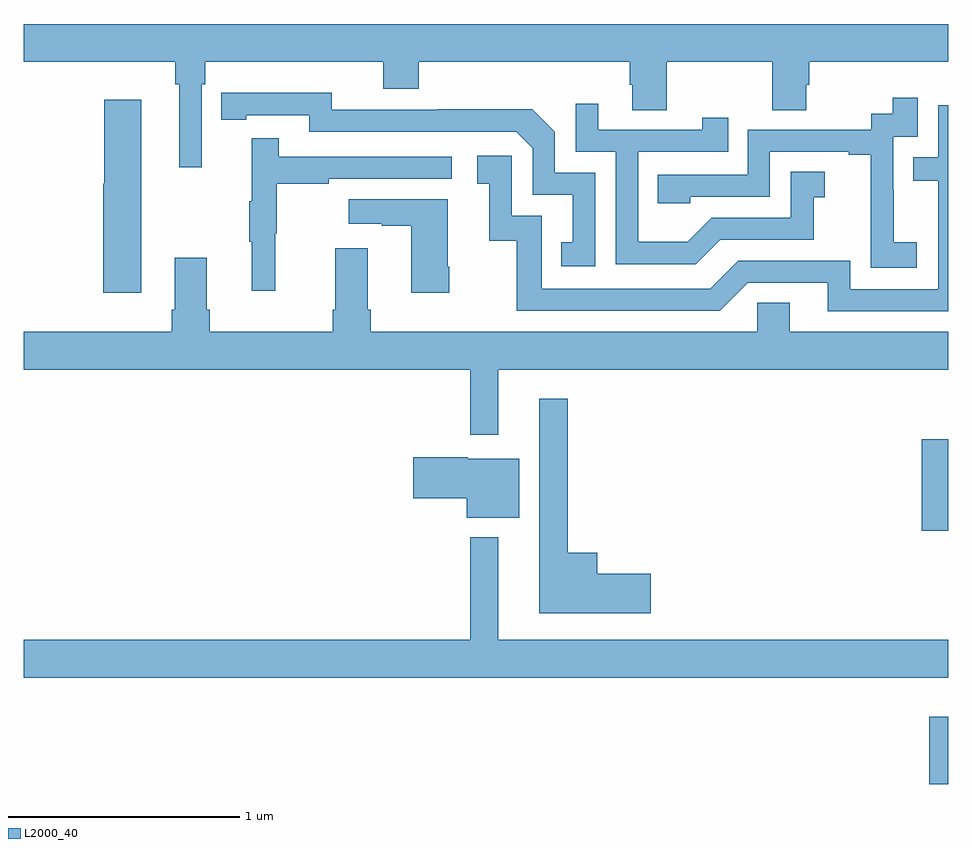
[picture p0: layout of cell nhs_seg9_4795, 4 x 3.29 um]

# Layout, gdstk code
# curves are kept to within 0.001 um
import gdstk
lib = gdstk.Library(unit=1e-6, precision=1e-09)
def R(c, l, rs):  # rectangles x0, y0, x1, y1
    for r in rs: c.add(gdstk.rectangle(r[:2], r[2:], *l))
def P(c, l, *ps):  # polygons
    for p in ps: c.add(gdstk.Polygon(p, *l))
L2000_40 = (2000, 40)

nhs_seg9_4795 = lib.new_cell('nhs_seg9_4795')
R(nhs_seg9_4795, L2000_40, [(390.917,1238.585,391,1238.875), (390.884,1239.681,391,1240.075)])
P(nhs_seg9_4795, L2000_40, [(387.771,1241.612),(387.785,1241.612),(387.785,1241.708),(388.556,1241.708),(388.556,1241.591),(388.709,1241.591),(388.709,1241.708),(389.621,1241.708),(389.621,1241.61),(389.633,1241.61),(389.633,1241.5),(389.781,1241.5),(389.781,1241.708),(390.238,1241.708),(390.238,1241.5),(390.385,1241.5),(390.385,1241.61),(390.398,1241.61),(390.398,1241.708),(391,1241.708),(391,1241.872),(387,1241.872),(387,1241.708),(387.655,1241.708),(387.655,1241.612),(387.674,1241.612),(387.674,1241.253),(387.771,1241.253)],
  [(389.472,1241.229),(389.298,1241.229),(389.298,1241.406),(389.2,1241.504),(388.792,1241.504),(388.792,1241.502),(388.332,1241.502),(388.332,1241.575),(387.856,1241.574),(387.856,1241.458),(387.964,1241.458),(387.964,1241.478),(388.236,1241.478),(388.236,1241.406),(389.13,1241.406),(389.202,1241.334),(389.202,1241.133),(389.375,1241.133),(389.375,1240.929),(389.326,1240.929),(389.326,1240.824),(389.472,1240.824)],
  [(390.862,1240.927),(390.764,1240.927),(390.764,1241.156),(390.762,1241.156),(390.762,1241.385),(390.867,1241.385),(390.867,1241.554),(390.759,1241.554),(390.759,1241.484),(390.666,1241.484),(390.666,1241.415),(390.132,1241.415),(390.132,1241.22),(389.743,1241.22),(389.743,1241.097),(389.883,1241.097),(389.883,1241.124),(390.228,1241.124),(390.228,1241.319),(390.569,1241.319),(390.569,1241.307),(390.665,1241.307),(390.665,1241.023),(390.664,1241.023),(390.664,1240.817),(390.862,1240.817)],
  [(387.508,1241.545),(387.35,1241.545),(387.35,1241.181),(387.344,1241.181),(387.344,1240.71),(387.508,1240.71)],
  [(390.013,1240.938),(390.417,1240.938),(390.417,1241.123),(390.466,1241.123),(390.466,1241.233),(390.318,1241.233),(390.318,1241.034),(389.976,1241.034),(389.872,1240.93),(389.658,1240.93),(389.658,1241.319),(390.047,1241.319),(390.047,1241.467),(389.936,1241.467),(389.936,1241.415),(389.485,1241.415),(389.485,1241.527),(389.388,1241.527),(389.388,1241.319),(389.562,1241.319),(389.562,1240.833),(389.908,1240.833)],
  [(391,1241.52),(390.957,1241.52),(390.957,1241.295),(390.847,1241.295),(390.847,1241.194),(390.957,1241.194),(390.957,1240.725),(390.576,1240.725),(390.576,1240.848),(390.09,1240.848),(389.97,1240.728),(389.241,1240.728),(389.241,1241.043),(389.112,1241.043),(389.112,1241.302),(388.962,1241.302),(388.962,1241.181),(389.015,1241.181),(389.015,1240.935),(389.133,1240.935),(389.133,1240.632),(390.012,1240.632),(390.132,1240.752),(390.479,1240.752),(390.479,1240.629),(391,1240.629)],
  [(388.088,1240.968),(388.096,1240.968),(388.096,1241.182),(388.319,1241.182),(388.319,1241.202),(388.852,1241.202),(388.852,1241.298),(388.103,1241.298),(388.103,1241.377),(387.986,1241.377),(387.986,1241.105),(387.975,1241.105),(387.975,1240.931),(387.986,1240.931),(387.986,1240.719),(388.088,1240.719)],
  [(388.842,1240.822),(388.834,1240.822),(388.834,1241.113),(388.407,1241.113),(388.407,1241.009),(388.55,1241.009),(388.55,1240.999),(388.676,1240.999),(388.676,1240.71),(388.842,1240.71)],
  [(389.053,1240.376),(391,1240.376),(391,1240.54),(390.313,1240.54),(390.313,1240.667),(390.174,1240.667),(390.174,1240.54),(388.502,1240.54),(388.502,1240.636),(388.489,1240.636),(388.489,1240.903),(388.349,1240.903),(388.349,1240.636),(388.337,1240.636),(388.337,1240.54),(387.806,1240.54),(387.806,1240.636),(387.793,1240.636),(387.793,1240.861),(387.653,1240.861),(387.653,1240.636),(387.641,1240.636),(387.641,1240.54),(387,1240.54),(387,1240.376),(388.932,1240.376),(388.932,1240.095),(389.053,1240.095)],
  [(389.713,1239.494),(389.482,1239.494),(389.482,1239.586),(389.353,1239.586),(389.353,1240.252),(389.231,1240.252),(389.231,1239.323),(389.713,1239.323)],
  [(389.143,1239.991),(388.92,1239.991),(388.92,1239.999),(388.686,1239.999),(388.686,1239.821),(388.916,1239.821),(388.916,1239.737),(389.143,1239.737)],
  [(391,1239.208),(389.053,1239.208),(389.053,1239.652),(388.932,1239.652),(388.932,1239.208),(387,1239.208),(387,1239.044),(391,1239.044)])

lib.write_gds('nhs_seg9_4795.gds')
